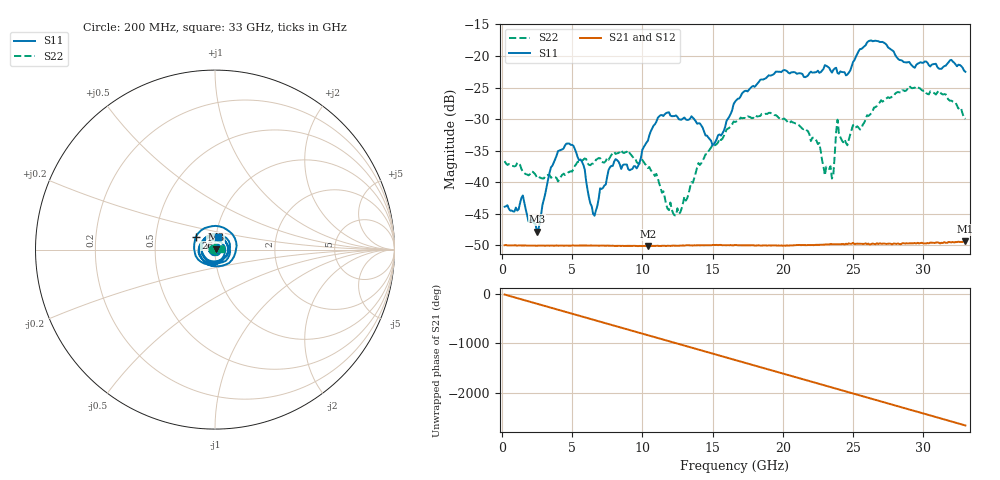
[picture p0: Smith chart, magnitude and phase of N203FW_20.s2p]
# GHZ S RI R 50
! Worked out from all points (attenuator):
!   329 points, 200 MHz to 33 GHz, reference 50 ohm
!   highest |S21| = -49.37 dB at 33 GHz (marker M1); lowest = -50.1 dB at 10.4 GHz (marker M2)
!   lowest |S11| = -47.8 dB at 2.5 GHz (marker M3), VSWR 1.01, Z = 50.4 + j0.181 ohm
!   |S11| at or under -10 dB: start of sweep to end of sweep
!   |S22| runs from -45.2 to -24.7 dB; largest |S21 - S12| = 8.8e-05
!   S11 on the Smith chart (normalised r, x): 200 MHz: 1.01, +0.00; 26 GHz: 0.80, +0.11; 33 GHz: 1.03, +0.15
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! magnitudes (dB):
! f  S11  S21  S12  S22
! 200 MHz  -43.9  -50.0  -49.9  -36.6
! 1.5 GHz  -42.1  -50.0  -50.0  -38.4
! 2.5 GHz  -47.8  -50.1  -50.0  -39.3
! 4 GHz  -35.1  -50.0  -50.0  -39.9
! 5.7 GHz  -36.7  -50.0  -50.0  -36.6
! 6.6 GHz  -45.3  -50.0  -50.0  -36.9
! 8.1 GHz  -36.3  -50.1  -50.1  -35.5
! 9.6 GHz  -37.8  -50.1  -50.1  -36.8
! 10.4 GHz  -33.4  -50.1  -50.1  -37.7
! 11.2 GHz  -29.6  -50.1  -50.1  -40.1
! 12.6 GHz  -30.0  -50.0  -50.0  -45.0
! 15 GHz  -34.2  -49.9  -49.9  -34.0
! 16.6 GHz  -27.2  -49.9  -49.9  -30.5
! 19.1 GHz  -23.1  -50.0  -50.0  -29.0
! 22.1 GHz  -22.6  -49.9  -49.9  -33.0
! 23.5 GHz  -22.6  -49.8  -49.8  -39.4
! 23.9 GHz  -22.7  -49.8  -49.8  -30.1
! 24.6 GHz  -22.9  -49.8  -49.7  -34.1
! 26 GHz  -17.9  -49.8  -49.7  -29.4
! 27.6 GHz  -18.8  -49.7  -49.7  -26.7
! 31.1 GHz  -22.0  -49.6  -49.4  -25.5
! 33 GHz  -22.5  -49.4  -49.4  -30.0
